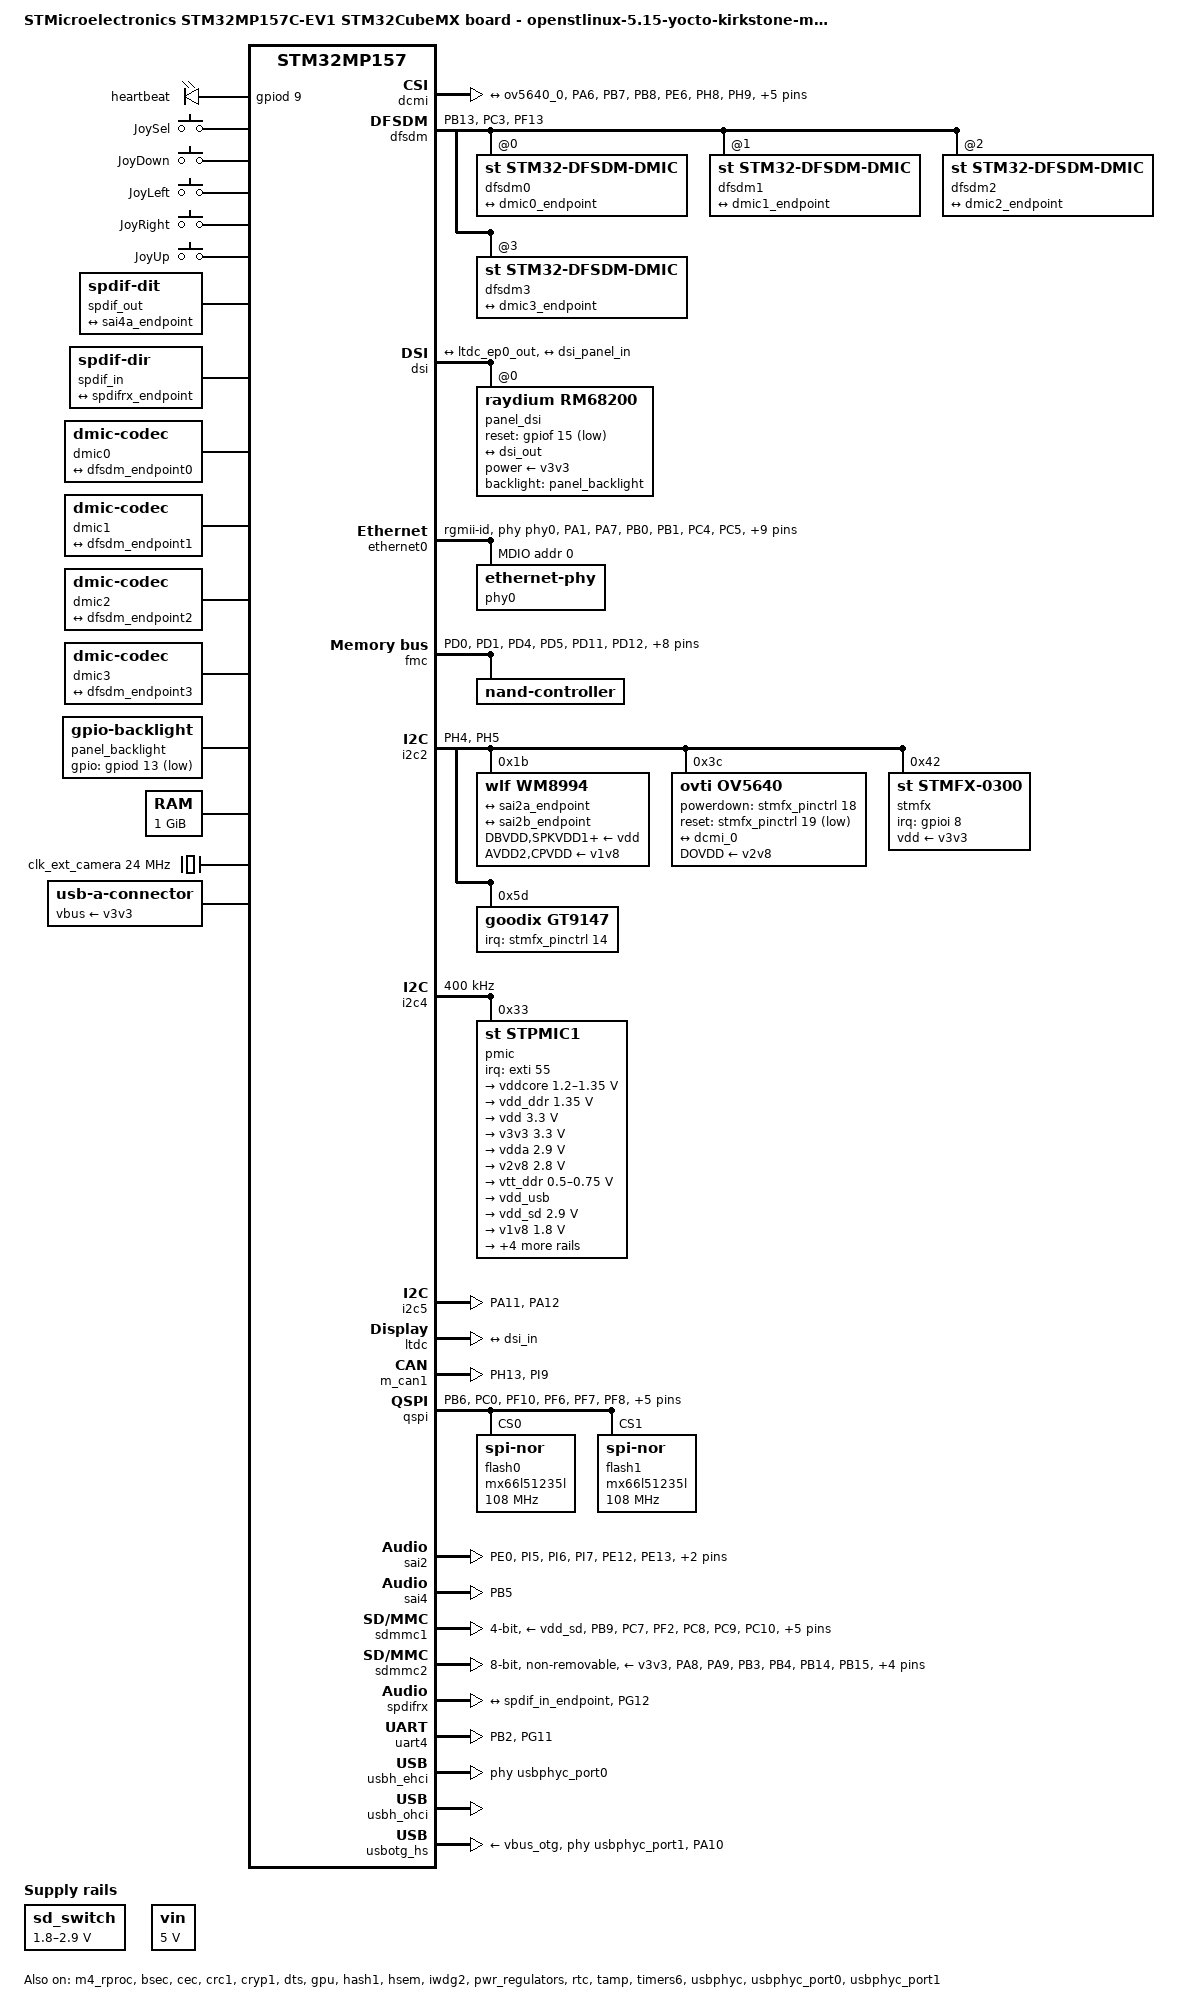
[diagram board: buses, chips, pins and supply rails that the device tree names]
/dts-v1/;
#include <dt-bindings/pinctrl/stm32-pinfunc.h>
#include "stm32mp157.dtsi"
#include "stm32mp15xc.dtsi"
#include "stm32mp15xxaa-pinctrl.dtsi"
#include "stm32mp15-m4-srm.dtsi"

/* USER CODE BEGIN includes */
#include <dt-bindings/gpio/gpio.h>
#include <dt-bindings/mfd/st,stpmic1.h>
#include <dt-bindings/input/input.h>
#include <dt-bindings/soc/stm32-hdp.h>
/* USER CODE END includes */

/{
	model = "STMicroelectronics STM32MP157C-EV1 STM32CubeMX board - openstlinux-5.15-yocto-kirkstone-mp1-v22.06.15";
	compatible = "st,stm32mp157c-board_157c-ev1-mx", "st,stm32mp157";

	/* USER CODE BEGIN root */

	aliases{
		serial0 = &uart4;
		ethernet0 = &ethernet0;
		serial1 = &usart3;
	};

	led{
		compatible = "gpio-leds";

		led-blue{
			label = "heartbeat";
			gpios = <&gpiod 9 GPIO_ACTIVE_HIGH>;
			linux,default-trigger = "heartbeat";
			default-state = "off";
		};
	};

	sd_switch:regulator-sd_switch{
		compatible = "regulator-gpio";
		regulator-name = "sd_switch";
		regulator-min-microvolt = <1800000>;
		regulator-max-microvolt = <2900000>;
		regulator-type = "voltage";
		regulator-always-on;
		gpios = <&gpiof 14 GPIO_ACTIVE_HIGH>;
		gpios-states = <0>;
		states = <1800000 0x1>,
				<2900000 0x0>;
	};

	vin:vin{
		compatible = "regulator-fixed";
		regulator-name = "vin";
		regulator-min-microvolt = <5000000>;
		regulator-max-microvolt = <5000000>;
		regulator-always-on;
	};

	chosen{
		stdout-path = "serial0:115200n8";
		#address-cells = <1>;
		#size-cells = <1>;
		ranges;
	};

	joystick{
		compatible = "gpio-keys";
		pinctrl-0 = <&joystick_pins>;
		pinctrl-names = "default";

		button-0{
			label = "JoySel";
			linux,code = <KEY_ENTER>;
			interrupt-parent = <&stmfx_pinctrl>;
			interrupts = <0 IRQ_TYPE_EDGE_RISING>;
		};

		button-1{
			label = "JoyDown";
			linux,code = <KEY_DOWN>;
			interrupt-parent = <&stmfx_pinctrl>;
			interrupts = <1 IRQ_TYPE_EDGE_RISING>;
		};

		button-2{
			label = "JoyLeft";
			linux,code = <KEY_LEFT>;
			interrupt-parent = <&stmfx_pinctrl>;
			interrupts = <2 IRQ_TYPE_EDGE_RISING>;
		};

		button-3{
			label = "JoyRight";
			linux,code = <KEY_RIGHT>;
			interrupt-parent = <&stmfx_pinctrl>;
			interrupts = <3 IRQ_TYPE_EDGE_RISING>;
		};

		button-4{
			label = "JoyUp";
			linux,code = <KEY_UP>;
			interrupt-parent = <&stmfx_pinctrl>;
			interrupts = <4 IRQ_TYPE_EDGE_RISING>;
		};
	};

	spdif_out:spdif-out{
		#sound-dai-cells = <0>;
		compatible = "linux,spdif-dit";
		status = "okay";

		spdif_out_port:port{

			spdif_out_endpoint:endpoint{
				remote-endpoint = <&sai4a_endpoint>;
			};
		};
	};

	spdif_in:spdif-in{
		#sound-dai-cells = <0>;
		compatible = "linux,spdif-dir";
		status = "okay";

		spdif_in_port:port{

			spdif_in_endpoint:endpoint{
				remote-endpoint = <&spdifrx_endpoint>;
			};
		};
	};

	sound:sound{
		compatible = "audio-graph-card";
		label = "STM32MP15-EV";
		routing = "AIF1CLK", "MCLK1",
				"AIF2CLK", "MCLK1",
				"IN1LN", "MICBIAS2",
				"DMIC2DAT", "MICBIAS1",
				"DMIC1DAT", "MICBIAS1";
		dais = <&sai2a_port &sai2b_port &sai4a_port &spdifrx_port
			&dfsdm0_port &dfsdm1_port &dfsdm2_port &dfsdm3_port>;
		status = "okay";
	};

	dmic0:dmic-0{
		compatible = "dmic-codec";
		#sound-dai-cells = <1>;
		sound-name-prefix = "dmic0";
		status = "okay";

		port{

			dmic0_endpoint:endpoint{
				remote-endpoint = <&dfsdm_endpoint0>;
			};
		};
	};

	dmic1:dmic-1{
		compatible = "dmic-codec";
		#sound-dai-cells = <1>;
		sound-name-prefix = "dmic1";
		status = "okay";

		port{

			dmic1_endpoint:endpoint{
				remote-endpoint = <&dfsdm_endpoint1>;
			};
		};
	};

	dmic2:dmic-2{
		compatible = "dmic-codec";
		#sound-dai-cells = <1>;
		sound-name-prefix = "dmic2";
		status = "okay";

		port{

			dmic2_endpoint:endpoint{
				remote-endpoint = <&dfsdm_endpoint2>;
			};
		};
	};

	dmic3:dmic-3{
		compatible = "dmic-codec";
		#sound-dai-cells = <1>;
		sound-name-prefix = "dmic3";
		status = "okay";

		port{

			dmic3_endpoint:endpoint{
				remote-endpoint = <&dfsdm_endpoint3>;
			};
		};
	};

	panel_backlight:panel-backlight{
		compatible = "gpio-backlight";
		gpios = <&gpiod 13 GPIO_ACTIVE_LOW>;
		default-on;
		status = "okay";
	};
	/* USER CODE END root */

	memory@c0000000{
		device_type = "memory";
		reg = <0xc0000000 0x40000000>;
	};

	reserved-memory{
		#address-cells = <1>;
		#size-cells = <1>;
		ranges;

		/* USER CODE BEGIN reserved-memory */

		mcuram2:mcuram2@10000000{
			compatible = "shared-dma-pool";
			reg = <0x10000000 0x40000>;
			no-map;
		};

		vdev0vring0:vdev0vring0@10040000{
			compatible = "shared-dma-pool";
			reg = <0x10040000 0x1000>;
			no-map;
		};

		vdev0vring1:vdev0vring1@10041000{
			compatible = "shared-dma-pool";
			reg = <0x10041000 0x1000>;
			no-map;
		};

		vdev0buffer:vdev0buffer@10042000{
			compatible = "shared-dma-pool";
			reg = <0x10042000 0x4000>;
			no-map;
		};

		mcu_rsc_table:mcu_rsc_table@10048000{
			compatible = "shared-dma-pool";
			reg = <0x10048000 0x8000>;
			no-map;
		};

		mcuram:mcuram@30000000{
			compatible = "shared-dma-pool";
			reg = <0x30000000 0x40000>;
			no-map;
		};

		retram:retram@38000000{
			compatible = "shared-dma-pool";
			reg = <0x38000000 0x10000>;
			no-map;
		};

		optee@fe000000{
			reg = <0xfe000000 0x2000000>;
			no-map;
		};

		gpu_reserved:gpu@f6000000{
			reg = <0xf6000000 0x8000000>;
			no-map;
		};
		/* USER CODE END reserved-memory */
	};

	clocks{

		/* USER CODE BEGIN clocks */

		clk_ext_camera:clk-ext-camera{
			#clock-cells = <0>;
			compatible = "fixed-clock";
			clock-frequency = <24000000>;
		};
		/* USER CODE END clocks */
	};
};

&pinctrl{

	dcmi_pins_mx:dcmi_mx-0{

		pins{
			pinmux = <STM32_PINMUX('A', 6, AF13)>,
					<STM32_PINMUX('B', 7, AF13)>,
					<STM32_PINMUX('B', 8, AF13)>,
					<STM32_PINMUX('E', 6, AF13)>,
					<STM32_PINMUX('H', 8, AF13)>,
					<STM32_PINMUX('H', 9, AF13)>,
					<STM32_PINMUX('H', 10, AF13)>,
					<STM32_PINMUX('H', 11, AF13)>,
					<STM32_PINMUX('H', 12, AF13)>,
					<STM32_PINMUX('H', 14, AF13)>,
					<STM32_PINMUX('I', 4, AF13)>;
			bias-disable;
		};
	};

	dcmi_sleep_pins_mx:dcmi_sleep_mx-0{

		pins{
			pinmux = <STM32_PINMUX('A', 6, ANALOG)>,
					<STM32_PINMUX('B', 7, ANALOG)>,
					<STM32_PINMUX('B', 8, ANALOG)>,
					<STM32_PINMUX('E', 6, ANALOG)>,
					<STM32_PINMUX('H', 8, ANALOG)>,
					<STM32_PINMUX('H', 9, ANALOG)>,
					<STM32_PINMUX('H', 10, ANALOG)>,
					<STM32_PINMUX('H', 11, ANALOG)>,
					<STM32_PINMUX('H', 12, ANALOG)>,
					<STM32_PINMUX('H', 14, ANALOG)>,
					<STM32_PINMUX('I', 4, ANALOG)>;
		};
	};

	dfsdm_pins_mx:dfsdm_mx-0{

		pins1{
			pinmux = <STM32_PINMUX('B', 13, AF3)>;
			bias-disable;
			drive-push-pull;
			slew-rate = <0>;
		};

		pins2{
			pinmux = <STM32_PINMUX('C', 3, AF3)>,
					<STM32_PINMUX('F', 13, AF6)>;
			bias-disable;
		};
	};

	dfsdm_sleep_pins_mx:dfsdm_sleep_mx-0{

		pins{
			pinmux = <STM32_PINMUX('B', 13, ANALOG)>,
					<STM32_PINMUX('C', 3, ANALOG)>,
					<STM32_PINMUX('F', 13, ANALOG)>;
		};
	};

	eth1_pins_mx:eth1_mx-0{

		pins1{
			pinmux = <STM32_PINMUX('A', 1, AF11)>,
					<STM32_PINMUX('A', 7, AF11)>,
					<STM32_PINMUX('B', 0, AF11)>,
					<STM32_PINMUX('B', 1, AF11)>,
					<STM32_PINMUX('C', 4, AF11)>,
					<STM32_PINMUX('C', 5, AF11)>;
			bias-disable;
		};

		pins2{
			pinmux = <STM32_PINMUX('A', 2, AF11)>;
			bias-disable;
			drive-push-pull;
			slew-rate = <0>;
		};

		pins3{
			pinmux = <STM32_PINMUX('B', 11, AF11)>,
					<STM32_PINMUX('C', 1, AF11)>,
					<STM32_PINMUX('C', 2, AF11)>,
					<STM32_PINMUX('E', 2, AF11)>,
					<STM32_PINMUX('G', 4, AF11)>,
					<STM32_PINMUX('G', 5, AF11)>,
					<STM32_PINMUX('G', 13, AF11)>,
					<STM32_PINMUX('G', 14, AF11)>;
			bias-disable;
			drive-push-pull;
			slew-rate = <2>;
		};
	};

	eth1_sleep_pins_mx:eth1_sleep_mx-0{

		pins{
			pinmux = <STM32_PINMUX('A', 1, ANALOG)>,
					<STM32_PINMUX('A', 2, ANALOG)>,
					<STM32_PINMUX('A', 7, ANALOG)>,
					<STM32_PINMUX('B', 0, ANALOG)>,
					<STM32_PINMUX('B', 1, ANALOG)>,
					<STM32_PINMUX('B', 11, ANALOG)>,
					<STM32_PINMUX('C', 1, ANALOG)>,
					<STM32_PINMUX('C', 2, ANALOG)>,
					<STM32_PINMUX('C', 4, ANALOG)>,
					<STM32_PINMUX('C', 5, ANALOG)>,
					<STM32_PINMUX('E', 2, ANALOG)>,
					<STM32_PINMUX('G', 4, ANALOG)>,
					<STM32_PINMUX('G', 5, ANALOG)>,
					<STM32_PINMUX('G', 13, ANALOG)>,
					<STM32_PINMUX('G', 14, ANALOG)>;
		};
	};

	fdcan1_pins_mx:fdcan1_mx-0{

		pins1{
			pinmux = <STM32_PINMUX('H', 13, AF9)>;
			bias-disable;
			drive-push-pull;
			slew-rate = <1>;
		};

		pins2{
			pinmux = <STM32_PINMUX('I', 9, AF9)>;
			bias-disable;
		};
	};

	fdcan1_sleep_pins_mx:fdcan1_sleep_mx-0{

		pins{
			pinmux = <STM32_PINMUX('H', 13, ANALOG)>,
					<STM32_PINMUX('I', 9, ANALOG)>;
		};
	};

	fmc_pins_mx:fmc_mx-0{

		pins1{
			pinmux = <STM32_PINMUX('D', 0, AF12)>,
					<STM32_PINMUX('D', 1, AF12)>,
					<STM32_PINMUX('D', 4, AF12)>,
					<STM32_PINMUX('D', 5, AF12)>,
					<STM32_PINMUX('D', 11, AF12)>,
					<STM32_PINMUX('D', 12, AF12)>,
					<STM32_PINMUX('D', 14, AF12)>,
					<STM32_PINMUX('D', 15, AF12)>,
					<STM32_PINMUX('E', 7, AF12)>,
					<STM32_PINMUX('E', 8, AF12)>,
					<STM32_PINMUX('E', 9, AF12)>,
					<STM32_PINMUX('E', 10, AF12)>,
					<STM32_PINMUX('G', 9, AF12)>;
			bias-disable;
			drive-push-pull;
			slew-rate = <1>;
		};

		pins2{
			pinmux = <STM32_PINMUX('D', 6, AF12)>;
			bias-pull-up;
		};
	};

	fmc_sleep_pins_mx:fmc_sleep_mx-0{

		pins{
			pinmux = <STM32_PINMUX('D', 0, ANALOG)>,
					<STM32_PINMUX('D', 1, ANALOG)>,
					<STM32_PINMUX('D', 4, ANALOG)>,
					<STM32_PINMUX('D', 5, ANALOG)>,
					<STM32_PINMUX('D', 6, ANALOG)>,
					<STM32_PINMUX('D', 11, ANALOG)>,
					<STM32_PINMUX('D', 12, ANALOG)>,
					<STM32_PINMUX('D', 14, ANALOG)>,
					<STM32_PINMUX('D', 15, ANALOG)>,
					<STM32_PINMUX('E', 7, ANALOG)>,
					<STM32_PINMUX('E', 8, ANALOG)>,
					<STM32_PINMUX('E', 9, ANALOG)>,
					<STM32_PINMUX('E', 10, ANALOG)>,
					<STM32_PINMUX('G', 9, ANALOG)>;
		};
	};

	hdmi_cec_pins_mx:hdmi_cec_mx-0{

		pins{
			pinmux = <STM32_PINMUX('A', 15, AF4)>;
			bias-disable;
			drive-open-drain;
			slew-rate = <0>;
		};
	};

	hdmi_cec_sleep_pins_mx:hdmi_cec_sleep_mx-0{

		pins{
			pinmux = <STM32_PINMUX('A', 15, ANALOG)>;
		};
	};

	i2c2_pins_mx:i2c2_mx-0{

		pins{
			pinmux = <STM32_PINMUX('H', 4, AF4)>,
					<STM32_PINMUX('H', 5, AF4)>;
			bias-disable;
			drive-open-drain;
			slew-rate = <0>;
		};
	};

	i2c2_sleep_pins_mx:i2c2_sleep_mx-0{

		pins{
			pinmux = <STM32_PINMUX('H', 4, ANALOG)>,
					<STM32_PINMUX('H', 5, ANALOG)>;
		};
	};

	i2c5_pins_mx:i2c5_mx-0{

		pins{
			pinmux = <STM32_PINMUX('A', 11, AF4)>,
					<STM32_PINMUX('A', 12, AF4)>;
			bias-disable;
			drive-open-drain;
			slew-rate = <0>;
		};
	};

	i2c5_sleep_pins_mx:i2c5_sleep_mx-0{

		pins{
			pinmux = <STM32_PINMUX('A', 11, ANALOG)>,
					<STM32_PINMUX('A', 12, ANALOG)>;
		};
	};

	quadspi_pins_mx:quadspi_mx-0{

		pins1{
			pinmux = <STM32_PINMUX('B', 6, AF10)>,
					<STM32_PINMUX('C', 0, AF10)>;
			bias-pull-up;
			drive-push-pull;
			slew-rate = <1>;
		};

		pins2{
			pinmux = <STM32_PINMUX('F', 10, AF9)>;
			bias-disable;
			drive-push-pull;
			slew-rate = <3>;
		};

		pins3{
			pinmux = <STM32_PINMUX('F', 6, AF9)>,
					<STM32_PINMUX('F', 7, AF9)>,
					<STM32_PINMUX('F', 8, AF10)>,
					<STM32_PINMUX('F', 9, AF10)>,
					<STM32_PINMUX('G', 7, AF11)>,
					<STM32_PINMUX('G', 10, AF11)>,
					<STM32_PINMUX('H', 2, AF9)>,
					<STM32_PINMUX('H', 3, AF9)>;
			bias-disable;
			drive-push-pull;
			slew-rate = <1>;
		};
	};

	quadspi_sleep_pins_mx:quadspi_sleep_mx-0{

		pins{
			pinmux = <STM32_PINMUX('B', 6, ANALOG)>,
					<STM32_PINMUX('C', 0, ANALOG)>,
					<STM32_PINMUX('F', 6, ANALOG)>,
					<STM32_PINMUX('F', 7, ANALOG)>,
					<STM32_PINMUX('F', 8, ANALOG)>,
					<STM32_PINMUX('F', 9, ANALOG)>,
					<STM32_PINMUX('F', 10, ANALOG)>,
					<STM32_PINMUX('G', 7, ANALOG)>,
					<STM32_PINMUX('G', 10, ANALOG)>,
					<STM32_PINMUX('H', 2, ANALOG)>,
					<STM32_PINMUX('H', 3, ANALOG)>;
		};
	};

	sai2a_pins_mx:sai2a_mx-0{

		pins{
			pinmux = <STM32_PINMUX('E', 0, AF10)>,
					<STM32_PINMUX('I', 5, AF10)>,
					<STM32_PINMUX('I', 6, AF10)>,
					<STM32_PINMUX('I', 7, AF10)>;
			bias-disable;
			drive-push-pull;
			slew-rate = <0>;
		};
	};

	sai2a_sleep_pins_mx:sai2a_sleep_mx-0{

		pins{
			pinmux = <STM32_PINMUX('E', 0, ANALOG)>,
					<STM32_PINMUX('I', 5, ANALOG)>,
					<STM32_PINMUX('I', 6, ANALOG)>,
					<STM32_PINMUX('I', 7, ANALOG)>;
		};
	};

	sai2b_pins_mx:sai2b_mx-0{

		pins{
			pinmux = <STM32_PINMUX('E', 12, AF10)>,
					<STM32_PINMUX('E', 13, AF10)>,
					<STM32_PINMUX('E', 14, AF10)>,
					<STM32_PINMUX('F', 11, AF10)>;
			bias-disable;
			drive-push-pull;
			slew-rate = <0>;
		};
	};

	sai2b_sleep_pins_mx:sai2b_sleep_mx-0{

		pins{
			pinmux = <STM32_PINMUX('E', 12, ANALOG)>,
					<STM32_PINMUX('E', 13, ANALOG)>,
					<STM32_PINMUX('E', 14, ANALOG)>,
					<STM32_PINMUX('F', 11, ANALOG)>;
		};
	};

	sai4a_pins_mx:sai4a_mx-0{

		pins{
			pinmux = <STM32_PINMUX('B', 5, AF10)>;
			bias-disable;
			drive-push-pull;
			slew-rate = <0>;
		};
	};

	sai4a_sleep_pins_mx:sai4a_sleep_mx-0{

		pins{
			pinmux = <STM32_PINMUX('B', 5, ANALOG)>;
		};
	};

	sdmmc1_pins_mx:sdmmc1_mx-0{

		pins1{
			pinmux = <STM32_PINMUX('B', 9, AF11)>,
					<STM32_PINMUX('C', 7, AF8)>,
					<STM32_PINMUX('F', 2, AF11)>;
			bias-pull-up;
			drive-push-pull;
			slew-rate = <1>;
		};

		pins2{
			pinmux = <STM32_PINMUX('C', 8, AF12)>,
					<STM32_PINMUX('C', 9, AF12)>,
					<STM32_PINMUX('C', 10, AF12)>,
					<STM32_PINMUX('C', 11, AF12)>,
					<STM32_PINMUX('D', 2, AF12)>;
			bias-disable;
			drive-push-pull;
			slew-rate = <1>;
		};

		pins3{
			pinmux = <STM32_PINMUX('C', 12, AF12)>;
			bias-disable;
			drive-push-pull;
			slew-rate = <2>;
		};

		pins4{
			pinmux = <STM32_PINMUX('E', 4, AF8)>;
			bias-pull-up;
		};
	};

	sdmmc1_opendrain_pins_mx:sdmmc1_opendrain_mx-0{

		pins1{
			pinmux = <STM32_PINMUX('B', 9, AF11)>,
					<STM32_PINMUX('C', 7, AF8)>,
					<STM32_PINMUX('F', 2, AF11)>;
			bias-pull-up;
			drive-push-pull;
			slew-rate = <1>;
		};

		pins2{
			pinmux = <STM32_PINMUX('C', 8, AF12)>,
					<STM32_PINMUX('C', 9, AF12)>,
					<STM32_PINMUX('C', 10, AF12)>,
					<STM32_PINMUX('C', 11, AF12)>;
			bias-disable;
			drive-push-pull;
			slew-rate = <1>;
		};

		pins3{
			pinmux = <STM32_PINMUX('C', 12, AF12)>;
			bias-disable;
			drive-push-pull;
			slew-rate = <2>;
		};

		pins4{
			pinmux = <STM32_PINMUX('D', 2, AF12)>;
			bias-disable;
			drive-open-drain;
			slew-rate = <1>;
		};

		pins5{
			pinmux = <STM32_PINMUX('E', 4, AF8)>;
			bias-pull-up;
		};
	};

	sdmmc1_sleep_pins_mx:sdmmc1_sleep_mx-0{

		pins{
			pinmux = <STM32_PINMUX('B', 9, ANALOG)>,
					<STM32_PINMUX('C', 7, ANALOG)>,
					<STM32_PINMUX('C', 8, ANALOG)>,
					<STM32_PINMUX('C', 9, ANALOG)>,
					<STM32_PINMUX('C', 10, ANALOG)>,
					<STM32_PINMUX('C', 11, ANALOG)>,
					<STM32_PINMUX('C', 12, ANALOG)>,
					<STM32_PINMUX('D', 2, ANALOG)>,
					<STM32_PINMUX('E', 4, ANALOG)>,
					<STM32_PINMUX('F', 2, ANALOG)>;
		};
	};

	sdmmc2_pins_mx:sdmmc2_mx-0{

		pins1{
			pinmux = <STM32_PINMUX('A', 8, AF9)>,
					<STM32_PINMUX('A', 9, AF10)>,
					<STM32_PINMUX('B', 3, AF9)>,
					<STM32_PINMUX('B', 4, AF9)>,
					<STM32_PINMUX('B', 14, AF9)>,
					<STM32_PINMUX('B', 15, AF9)>,
					<STM32_PINMUX('D', 3, AF9)>,
					<STM32_PINMUX('E', 5, AF9)>,
					<STM32_PINMUX('G', 6, AF10)>;
			bias-pull-up;
			drive-push-pull;
			slew-rate = <1>;
		};

		pins2{
			pinmux = <STM32_PINMUX('E', 3, AF9)>;
			bias-pull-up;
			drive-push-pull;
			slew-rate = <2>;
		};
	};

	sdmmc2_opendrain_pins_mx:sdmmc2_opendrain_mx-0{

		pins1{
			pinmux = <STM32_PINMUX('A', 8, AF9)>,
					<STM32_PINMUX('A', 9, AF10)>,
					<STM32_PINMUX('B', 3, AF9)>,
					<STM32_PINMUX('B', 4, AF9)>,
					<STM32_PINMUX('B', 14, AF9)>,
					<STM32_PINMUX('B', 15, AF9)>,
					<STM32_PINMUX('D', 3, AF9)>,
					<STM32_PINMUX('E', 5, AF9)>;
			bias-pull-up;
			drive-push-pull;
			slew-rate = <1>;
		};

		pins2{
			pinmux = <STM32_PINMUX('E', 3, AF9)>;
			bias-pull-up;
			drive-push-pull;
			slew-rate = <2>;
		};

		pins3{
			pinmux = <STM32_PINMUX('G', 6, AF10)>;
			bias-pull-up;
			drive-open-drain;
			slew-rate = <1>;
		};
	};

	sdmmc2_sleep_pins_mx:sdmmc2_sleep_mx-0{

		pins{
			pinmux = <STM32_PINMUX('A', 8, ANALOG)>,
					<STM32_PINMUX('A', 9, ANALOG)>,
					<STM32_PINMUX('B', 3, ANALOG)>,
					<STM32_PINMUX('B', 4, ANALOG)>,
					<STM32_PINMUX('B', 14, ANALOG)>,
					<STM32_PINMUX('B', 15, ANALOG)>,
					<STM32_PINMUX('D', 3, ANALOG)>,
					<STM32_PINMUX('E', 3, ANALOG)>,
					<STM32_PINMUX('E', 5, ANALOG)>,
					<STM32_PINMUX('G', 6, ANALOG)>;
		};
	};

	spdifrx_pins_mx:spdifrx_mx-0{

		pins{
			pinmux = <STM32_PINMUX('G', 12, AF8)>;
			bias-disable;
		};
	};

	spdifrx_sleep_pins_mx:spdifrx_sleep_mx-0{

		pins{
			pinmux = <STM32_PINMUX('G', 12, ANALOG)>;
		};
	};

	uart4_pins_mx:uart4_mx-0{

		pins1{
			pinmux = <STM32_PINMUX('B', 2, AF8)>;
			bias-disable;
		};

		pins2{
			pinmux = <STM32_PINMUX('G', 11, AF6)>;
			bias-disable;
			drive-push-pull;
			slew-rate = <0>;
		};
	};

	uart4_sleep_pins_mx:uart4_sleep_mx-0{

		pins{
			pinmux = <STM32_PINMUX('B', 2, ANALOG)>,
					<STM32_PINMUX('G', 11, ANALOG)>;
		};
	};

	usb_otg_hs_pins_mx:usb_otg_hs_mx-0{

		pins{
			pinmux = <STM32_PINMUX('A', 10, ANALOG)>;
		};
	};

	usb_otg_hs_sleep_pins_mx:usb_otg_hs_sleep_mx-0{

		pins{
			pinmux = <STM32_PINMUX('A', 10, ANALOG)>;
		};
	};
};

&pinctrl_z{

	i2c4_pins_z_mx:i2c4_mx-0{

		pins{
			pinmux = <STM32_PINMUX('Z', 4, AF6)>,
					<STM32_PINMUX('Z', 5, AF6)>;
			bias-disable;
			drive-open-drain;
			slew-rate = <0>;
		};
	};

	i2c4_sleep_pins_z_mx:i2c4_sleep_mx-0{

		pins{
			pinmux = <STM32_PINMUX('Z', 4, ANALOG)>,
					<STM32_PINMUX('Z', 5, ANALOG)>;
		};
	};
};

&m4_rproc{
	mboxes = <&ipcc 0>, <&ipcc 1>, <&ipcc 2>;
	mbox-names = "vq0", "vq1", "shutdown";
	status = "okay";

	/* USER CODE BEGIN m4_rproc */
	memory-region = <&retram>, <&mcuram>, <&mcuram2>, <&vdev0vring0>,
			<&vdev0vring1>, <&vdev0buffer>, <&mcu_rsc_table>;
	interrupt-parent = <&exti>;
	interrupts = <68 1>;
	wakeup-source;
	/* USER CODE END m4_rproc */
};

&bsec{
	status = "okay";
};

&cec{
	pinctrl-names = "default", "sleep";
	pinctrl-0 = <&hdmi_cec_pins_mx>;
	pinctrl-1 = <&hdmi_cec_sleep_pins_mx>;
	status = "okay";
};

&crc1{
	status = "okay";
};

&cryp1{
	status = "okay";
};

&dcmi{
	pinctrl-names = "default", "sleep";
	pinctrl-0 = <&dcmi_pins_mx>;
	pinctrl-1 = <&dcmi_sleep_pins_mx>;
	status = "okay";

	/* USER CODE BEGIN dcmi */

	port{

		dcmi_0:endpoint{
			remote-endpoint = <&ov5640_0>;
			bus-type = <5>;
			bus-width = <8>;
			hsync-active = <0>;
			vsync-active = <0>;
			pclk-sample = <1>;
			pclk-max-frequency = <77000000>;
		};
	};
	/* USER CODE END dcmi */
};

&dfsdm{
	pinctrl-names = "default", "sleep";
	pinctrl-0 = <&dfsdm_pins_mx>;
	pinctrl-1 = <&dfsdm_sleep_pins_mx>;
	status = "okay";

	/* USER CODE BEGIN dfsdm */
	spi-max-frequency = <2048000>;
	clocks = <&rcc DFSDM_K>, <&rcc ADFSDM_K>;
	clock-names = "dfsdm", "audio";

	dfsdm0:filter@0{
		compatible = "st,stm32-dfsdm-dmic";
		st,adc-channels = <3>;
		st,adc-channel-names = "dmic_u1";
		st,adc-channel-types = "SPI_R";
		st,adc-channel-clk-src = "CLKOUT";
		st,filter-order = <3>;
		status = "okay";

		asoc_pdm0:dfsdm-dai{
			compatible = "st,stm32h7-dfsdm-dai";
			#sound-dai-cells = <0>;
			io-channels = <&dfsdm0 0>;
			status = "okay";

			dfsdm0_port:port{

				dfsdm_endpoint0:endpoint{
					remote-endpoint = <&dmic0_endpoint>;
				};
			};
		};
	};

	dfsdm1:filter@1{
		compatible = "st,stm32-dfsdm-dmic";
		st,adc-channels = <0>;
		st,adc-channel-names = "dmic_u2";
		st,adc-channel-types = "SPI_F";
		st,adc-channel-clk-src = "CLKOUT";
		st,filter-order = <3>;
		st,adc-alt-channel = <1>;
		status = "okay";

		asoc_pdm1:dfsdm-dai{
			compatible = "st,stm32h7-dfsdm-dai";
			#sound-dai-cells = <0>;
			io-channels = <&dfsdm1 0>;
			status = "okay";

			dfsdm1_port:port{

				dfsdm_endpoint1:endpoint{
					remote-endpoint = <&dmic1_endpoint>;
				};
			};
		};
	};

	dfsdm2:filter@2{
		compatible = "st,stm32-dfsdm-dmic";
		st,adc-channels = <2>;
		st,adc-channel-names = "dmic_u3";
		st,adc-channel-types = "SPI_F";
		st,adc-channel-clk-src = "CLKOUT";
		st,adc-alt-channel = <1>;
		st,filter-order = <3>;
		status = "okay";

		asoc_pdm2:dfsdm-dai{
			compatible = "st,stm32h7-dfsdm-dai";
			#sound-dai-cells = <0>;
			io-channels = <&dfsdm2 0>;
			status = "okay";

			dfsdm2_port:port{

				dfsdm_endpoint2:endpoint{
					remote-endpoint = <&dmic2_endpoint>;
				};
			};
		};
	};

	dfsdm3:filter@3{
		compatible = "st,stm32-dfsdm-dmic";
		st,adc-channels = <1>;
		st,adc-channel-names = "dmic_u4";
		st,adc-channel-types = "SPI_R";
		st,adc-channel-clk-src = "CLKOUT";
		st,filter-order = <3>;
		status = "okay";

		asoc_pdm3:dfsdm-dai{
			compatible = "st,stm32h7-dfsdm-dai";
			#sound-dai-cells = <0>;
			io-channels = <&dfsdm3 0>;
			status = "okay";

			dfsdm3_port:port{

				dfsdm_endpoint3:endpoint{
					remote-endpoint = <&dmic3_endpoint>;
				};
			};
		};
	};
	/* USER CODE END dfsdm */
};

&dma1{
	status = "okay";

	/* USER CODE BEGIN dma1 */
	sram = <&dma_pool>;
	/* USER CODE END dma1 */
};

&dma2{
	status = "okay";

	/* USER CODE BEGIN dma2 */
	sram = <&dma_pool>;
	/* USER CODE END dma2 */
};

&dmamux1{
	status = "okay";
	dma-masters = <&dma1 &dma2>;
	dma-channels = <16>;
};

&dsi{
	status = "okay";

	/* USER CODE BEGIN dsi */
	#address-cells = <1>;
	#size-cells = <0>;

	ports{
		#address-cells = <1>;
		#size-cells = <0>;

		port@0{
			reg = <0>;

			dsi_in:endpoint{
				remote-endpoint = <&ltdc_ep0_out>;
			};
		};

		port@1{
			reg = <1>;

			dsi_out:endpoint{
				remote-endpoint = <&dsi_panel_in>;
			};
		};
	};

	panel_dsi:panel-dsi@0{
		compatible = "raydium,rm68200";
		reg = <0>;
		reset-gpios = <&gpiof 15 GPIO_ACTIVE_LOW>;
		backlight = <&panel_backlight>;
		power-supply = <&v3v3>;
		status = "okay";

		port{

			dsi_panel_in:endpoint{
				remote-endpoint = <&dsi_out>;
			};
		};
	};
	/* USER CODE END dsi */
};

&dts{
	status = "okay";
};

&ethernet0{
	pinctrl-names = "default", "sleep";
	pinctrl-0 = <&eth1_pins_mx>;
	pinctrl-1 = <&eth1_sleep_pins_mx>;
	status = "okay";

	/* USER CODE BEGIN ethernet0 */
	phy-mode = "rgmii-id";
	max-speed = <1000>;
	phy-handle = <&phy0>;

	mdio0{
		#address-cells = <1>;
		#size-cells = <0>;
		compatible = "snps,dwmac-mdio";

		phy0:ethernet-phy@0{
			reg = <0>;
		};
	};
	/* USER CODE END ethernet0 */
};

&fmc{
	pinctrl-names = "default", "sleep";
	pinctrl-0 = <&fmc_pins_mx>;
	pinctrl-1 = <&fmc_sleep_pins_mx>;
	status = "okay";

	/* USER CODE BEGIN fmc */

	nand-controller@4,0{
		status = "okay";

		nand@0{
			reg = <0>;
			nand-on-flash-bbt;
			#address-cells = <1>;
			#size-cells = <1>;
		};
	};
	/* USER CODE END fmc */
};

&gpu{
	status = "okay";

	/* USER CODE BEGIN gpu */
	contiguous-area = <&gpu_reserved>;
	/* USER CODE END gpu */
};

&hash1{
	status = "okay";
};

&hsem{
	status = "okay";
};

&i2c2{
	pinctrl-names = "default", "sleep";
	pinctrl-0 = <&i2c2_pins_mx>;
	pinctrl-1 = <&i2c2_sleep_pins_mx>;
	status = "okay";

	/* USER CODE BEGIN i2c2 */
	i2c-scl-rising-time-ns = <185>;
	i2c-scl-falling-time-ns = <20>;
	/delete-property/ dmas;
	/delete-property/ dma-names;

	wm8994:wm8994@1b{
		compatible = "wlf,wm8994";
		#sound-dai-cells = <0>;
		reg = <0x1b>;
		status = "okay";
		gpio-controller;
		#gpio-cells = <2>;
		DBVDD-supply = <&vdd>;
		SPKVDD1-supply = <&vdd>;
		SPKVDD2-supply = <&vdd>;
		AVDD2-supply = <&v1v8>;
		CPVDD-supply = <&v1v8>;
		wlf,ldoena-always-driven;
		clocks = <&sai2a>;
		clock-names = "MCLK1";
		wlf,gpio-cfg = <0x8101 0xa100 0xa100 0xa100 0xa101 0xa101 0xa100 0xa101 0xa101 0xa101 0xa101>;

		ports{
			#address-cells = <1>;
			#size-cells = <0>;

			wm8994_tx_port:port@0{
				reg = <0>;

				wm8994_tx_endpoint:endpoint{
					remote-endpoint = <&sai2a_endpoint>;
				};
			};

			wm8994_rx_port:port@1{
				reg = <1>;

				wm8994_rx_endpoint:endpoint{
					remote-endpoint = <&sai2b_endpoint>;
				};
			};
		};
	};

	ov5640:camera@3c{
		compatible = "ovti,ov5640";
		reg = <0x3c>;
		clocks = <&clk_ext_camera>;
		clock-names = "xclk";
		DOVDD-supply = <&v2v8>;
		powerdown-gpios = <&stmfx_pinctrl 18 (GPIO_ACTIVE_HIGH | GPIO_PUSH_PULL)>;
		reset-gpios = <&stmfx_pinctrl 19 (GPIO_ACTIVE_LOW | GPIO_PUSH_PULL)>;
		rotation = <180>;
		status = "okay";

		port{

			ov5640_0:endpoint{
				remote-endpoint = <&dcmi_0>;
				bus-width = <8>;
				data-shift = <2>;
				hsync-active = <0>;
				vsync-active = <0>;
				pclk-sample = <1>;
				pclk-max-frequency = <77000000>;
			};
		};
	};

	stmfx:stmfx@42{
		compatible = "st,stmfx-0300";
		reg = <0x42>;
		interrupts = <8 IRQ_TYPE_EDGE_RISING>;
		interrupt-parent = <&gpioi>;
		vdd-supply = <&v3v3>;

		stmfx_pinctrl:pinctrl{
			compatible = "st,stmfx-0300-pinctrl";
			gpio-controller;
			#gpio-cells = <2>;
			interrupt-controller;
			#interrupt-cells = <2>;
			gpio-ranges = <&stmfx_pinctrl 0 0 24>;

			goodix_pins:goodix{
				pins = "gpio14";
				bias-pull-down;
			};

			joystick_pins:joystick-pins{
				pins = "gpio0", "gpio1", "gpio2", "gpio3", "gpio4";
				bias-pull-down;
			};
		};
	};

	gt9147:goodix_ts@5d{
		compatible = "goodix,gt9147";
		reg = <0x5d>;
		panel = <&panel_dsi>;
		pinctrl-0 = <&goodix_pins>;
		pinctrl-names = "default";
		status = "okay";
		interrupts = <14 IRQ_TYPE_EDGE_RISING>;
		interrupt-parent = <&stmfx_pinctrl>;
	};
	/* USER CODE END i2c2 */
};

&i2c4{
	pinctrl-names = "default", "sleep";
	pinctrl-0 = <&i2c4_pins_z_mx>;
	pinctrl-1 = <&i2c4_sleep_pins_z_mx>;
	status = "okay";

	/* USER CODE BEGIN i2c4 */
	i2c-scl-rising-time-ns = <185>;
	i2c-scl-falling-time-ns = <20>;
	clock-frequency = <400000>;
	/delete-property/ dmas;
	/delete-property/ dma-names;

	pmic:stpmic@33{
		compatible = "st,stpmic1";
		reg = <0x33>;
		interrupts-extended = <&exti 55 IRQ_TYPE_EDGE_FALLING>;
		interrupt-controller;
		#interrupt-cells = <2>;
		status = "okay";

		regulators{
			compatible = "st,stpmic1-regulators";
			buck1-supply = <&vin>;
			buck2-supply = <&vin>;
			buck3-supply = <&vin>;
			buck4-supply = <&vin>;
			ldo1-supply = <&v3v3>;
			ldo2-supply = <&v3v3>;
			ldo3-supply = <&vdd_ddr>;
			ldo4-supply = <&vin>;
			ldo5-supply = <&v3v3>;
			ldo6-supply = <&v3v3>;
			vref_ddr-supply = <&vin>;
			boost-supply = <&vin>;
			pwr_sw1-supply = <&bst_out>;
			pwr_sw2-supply = <&bst_out>;

			vddcore:buck1{
				regulator-name = "vddcore";
				regulator-min-microvolt = <1200000>;
				regulator-max-microvolt = <1350000>;
				regulator-always-on;
				regulator-initial-mode = <0>;
				regulator-over-current-protection;
			};

			vdd_ddr:buck2{
				regulator-name = "vdd_ddr";
				regulator-min-microvolt = <1350000>;
				regulator-max-microvolt = <1350000>;
				regulator-always-on;
				regulator-initial-mode = <0>;
				regulator-over-current-protection;
			};

			vdd:buck3{
				regulator-name = "vdd";
				regulator-min-microvolt = <3300000>;
				regulator-max-microvolt = <3300000>;
				regulator-always-on;
				st,mask-reset;
				regulator-initial-mode = <0>;
				regulator-over-current-protection;
			};

			v3v3:buck4{
				regulator-name = "v3v3";
				regulator-min-microvolt = <3300000>;
				regulator-max-microvolt = <3300000>;
				regulator-always-on;
				regulator-over-current-protection;
				regulator-initial-mode = <0>;
			};

			vdda:ldo1{
				regulator-name = "vdda";
				regulator-min-microvolt = <2900000>;
				regulator-max-microvolt = <2900000>;
				interrupts = <IT_CURLIM_LDO1 0>;
			};

			v2v8:ldo2{
				regulator-name = "v2v8";
				regulator-min-microvolt = <2800000>;
				regulator-max-microvolt = <2800000>;
				interrupts = <IT_CURLIM_LDO2 0>;
			};

			vtt_ddr:ldo3{
				regulator-name = "vtt_ddr";
				regulator-min-microvolt = <500000>;
				regulator-max-microvolt = <750000>;
				regulator-always-on;
				regulator-over-current-protection;
			};

			vdd_usb:ldo4{
				regulator-name = "vdd_usb";
				interrupts = <IT_CURLIM_LDO4 0>;
			};

			vdd_sd:ldo5{
				regulator-name = "vdd_sd";
				regulator-min-microvolt = <2900000>;
				regulator-max-microvolt = <2900000>;
				interrupts = <IT_CURLIM_LDO5 0>;
				regulator-boot-on;
			};

			v1v8:ldo6{
				regulator-name = "v1v8";
				regulator-min-microvolt = <1800000>;
				regulator-max-microvolt = <1800000>;
				interrupts = <IT_CURLIM_LDO6 0>;
				regulator-enable-ramp-delay = <300000>;
			};

			vref_ddr:vref_ddr{
				regulator-name = "vref_ddr";
				regulator-always-on;
			};

			bst_out:boost{
				regulator-name = "bst_out";
				interrupts = <IT_OCP_BOOST 0>;
			};

			vbus_otg:pwr_sw1{
				regulator-name = "vbus_otg";
				interrupts = <IT_OCP_OTG 0>;
			};

			vbus_sw:pwr_sw2{
				regulator-name = "vbus_sw";
				interrupts = <IT_OCP_SWOUT 0>;
				regulator-active-discharge = <1>;
			};
		};

		onkey{
			compatible = "st,stpmic1-onkey";
			interrupts = <IT_PONKEY_F 0>, <IT_PONKEY_R 0>;
			interrupt-names = "onkey-falling", "onkey-rising";
			power-off-time-sec = <10>;
			status = "okay";
		};

		watchdog{
			compatible = "st,stpmic1-wdt";
			status = "disabled";
		};
	};
	/* USER CODE END i2c4 */
};

&i2c5{
	pinctrl-names = "default", "sleep";
	pinctrl-0 = <&i2c5_pins_mx>;
	pinctrl-1 = <&i2c5_sleep_pins_mx>;
	status = "okay";

	/* USER CODE BEGIN i2c5 */
	i2c-scl-rising-time-ns = <185>;
	i2c-scl-falling-time-ns = <20>;
	/delete-property/ dmas;
	/delete-property/ dma-names;
	/* USER CODE END i2c5 */
};

&ipcc{
	status = "okay";
};

&iwdg2{
	status = "okay";

	/* USER CODE BEGIN iwdg2 */
	timeout-sec = <32>;
	/* USER CODE END iwdg2 */
};

&ltdc{
	status = "okay";

	/* USER CODE BEGIN ltdc */

	port{

		ltdc_ep0_out:endpoint@0{
			reg = <0>;
			remote-endpoint = <&dsi_in>;
		};
	};
	/* USER CODE END ltdc */
};

&m_can1{
	pinctrl-names = "default", "sleep";
	pinctrl-0 = <&fdcan1_pins_mx>;
	pinctrl-1 = <&fdcan1_sleep_pins_mx>;
	status = "okay";
};

&mdma1{
	status = "okay";
};

&pwr_regulators{
	status = "okay";

	/* USER CODE BEGIN pwr_regulators */
	vdd-supply = <&vdd>;
	vdd_3v3_usbfs-supply = <&vdd_usb>;
	/* USER CODE END pwr_regulators */
};

&qspi{
	pinctrl-names = "default", "sleep";
	pinctrl-0 = <&quadspi_pins_mx>;
	pinctrl-1 = <&quadspi_sleep_pins_mx>;
	status = "okay";

	/* USER CODE BEGIN qspi */
	reg = <0x58003000 0x1000>, <0x70000000 0x4000000>;
	#address-cells = <1>;
	#size-cells = <0>;

	flash0:mx66l51235l@0{
		compatible = "jedec,spi-nor";
		reg = <0>;
		spi-rx-bus-width = <4>;
		spi-max-frequency = <108000000>;
		#address-cells = <1>;
		#size-cells = <1>;
	};

	flash1:mx66l51235l@1{
		compatible = "jedec,spi-nor";
		reg = <1>;
		spi-rx-bus-width = <4>;
		spi-max-frequency = <108000000>;
		#address-cells = <1>;
		#size-cells = <1>;
	};
	/* USER CODE END qspi */
};

&rcc{
	status = "okay";
};

&rtc{
	status = "okay";
};

&sai2{
	pinctrl-names = "default", "sleep";
	pinctrl-0 = <&sai2a_pins_mx>, <&sai2b_pins_mx>;
	pinctrl-1 = <&sai2a_sleep_pins_mx>, <&sai2b_sleep_pins_mx>;
	status = "okay";

	/* USER CODE BEGIN sai2 */
	clocks = <&rcc SAI2>, <&rcc PLL3_Q>, <&rcc PLL3_R>;
	clock-names = "pclk", "x8k", "x11k";
	/* USER CODE END sai2 */

	sai2a:audio-controller@4400b004{
		status = "okay";

		/* USER CODE BEGIN sai2a */
		#clock-cells = <0>;
		dma-names = "tx";

		sai2a_port:port{

			sai2a_endpoint:endpoint{
				remote-endpoint = <&wm8994_tx_endpoint>;
				format = "i2s";
				mclk-fs = <256>;
			};
		};
		/* USER CODE END sai2a */
	};

	sai2b:audio-controller@4400b024{
		status = "okay";

		/* USER CODE BEGIN sai2b */
		dma-names = "rx";
		clocks = <&rcc SAI2_K>, <&sai2a>;
		clock-names = "sai_ck", "MCLK";

		sai2b_port:port{

			sai2b_endpoint:endpoint{
				remote-endpoint = <&wm8994_rx_endpoint>;
				format = "i2s";
				mclk-fs = <256>;
			};
		};
		/* USER CODE END sai2b */
	};
};

&sai4{
	pinctrl-names = "default", "sleep";
	pinctrl-0 = <&sai4a_pins_mx>;
	pinctrl-1 = <&sai4a_sleep_pins_mx>;
	status = "okay";

	/* USER CODE BEGIN sai4 */
	clocks = <&rcc SAI4>, <&rcc PLL3_Q>, <&rcc PLL3_R>;
	clock-names = "pclk", "x8k", "x11k";
	/* USER CODE END sai4 */

	sai4a:audio-controller@50027004{
		status = "okay";

		/* USER CODE BEGIN sai4a */
		dma-names = "tx";
		st,iec60958;

		sai4a_port:port{

			sai4a_endpoint:endpoint{
				remote-endpoint = <&spdif_out_endpoint>;
			};
		};
		/* USER CODE END sai4a */
	};
};

&sdmmc1{
	pinctrl-names = "default", "opendrain", "sleep";
	pinctrl-0 = <&sdmmc1_pins_mx>;
	pinctrl-1 = <&sdmmc1_opendrain_pins_mx>;
	pinctrl-2 = <&sdmmc1_sleep_pins_mx>;
	status = "okay";

	/* USER CODE BEGIN sdmmc1 */
	cd-gpios = <&gpiog 1 (GPIO_ACTIVE_LOW | GPIO_PULL_UP)>;
	disable-wp;
	st,sig-dir;
	st,neg-edge;
	st,use-ckin;
	bus-width = <4>;
	vmmc-supply = <&vdd_sd>;
	vqmmc-supply = <&sd_switch>;
	sd-uhs-sdr12;
	sd-uhs-sdr25;
	sd-uhs-sdr50;
	sd-uhs-ddr50;
	/* USER CODE END sdmmc1 */
};

&sdmmc2{
	pinctrl-names = "default", "opendrain", "sleep";
	pinctrl-0 = <&sdmmc2_pins_mx>;
	pinctrl-1 = <&sdmmc2_opendrain_pins_mx>;
	pinctrl-2 = <&sdmmc2_sleep_pins_mx>;
	status = "okay";

	/* USER CODE BEGIN sdmmc2 */
	non-removable;
	no-sd;
	no-sdio;
	st,neg-edge;
	bus-width = <8>;
	vmmc-supply = <&v3v3>;
	vqmmc-supply = <&vdd>;
	mmc-ddr-3_3v;
	/* USER CODE END sdmmc2 */
};

&spdifrx{
	pinctrl-names = "default", "sleep";
	pinctrl-0 = <&spdifrx_pins_mx>;
	pinctrl-1 = <&spdifrx_sleep_pins_mx>;
	status = "okay";

	/* USER CODE BEGIN spdifrx */

	spdifrx_port:port{

		spdifrx_endpoint:endpoint{
			remote-endpoint = <&spdif_in_endpoint>;
		};
	};
	/* USER CODE END spdifrx */
};

&tamp{
	status = "okay";
};

&timers6{
	status = "okay";

	/* USER CODE BEGIN timers6 */
	/delete-property/ dmas;
	/delete-property/ dma-names;

	timer@5{
		status = "okay";
	};
	/* USER CODE END timers6 */
};

&uart4{
	pinctrl-names = "default", "sleep";
	pinctrl-0 = <&uart4_pins_mx>;
	pinctrl-1 = <&uart4_sleep_pins_mx>;
	status = "okay";

	/* USER CODE BEGIN uart4 */
	/delete-property/ dmas;
	/delete-property/ dma-names;
	/* USER CODE END uart4 */
};

&usbh_ehci{
	status = "okay";

	/* USER CODE BEGIN usbh_ehci */
	phys = <&usbphyc_port0>;
	/* USER CODE END usbh_ehci */
};

&usbh_ohci{
	status = "okay";
};

&usbotg_hs{
	pinctrl-names = "default", "sleep";
	pinctrl-0 = <&usb_otg_hs_pins_mx>;
	pinctrl-1 = <&usb_otg_hs_sleep_pins_mx>;
	status = "okay";

	/* USER CODE BEGIN usbotg_hs */
	vbus-supply = <&vbus_otg>;
	phys = <&usbphyc_port1 0>;
	phy-names = "usb2-phy";
	/* USER CODE END usbotg_hs */
};

&usbphyc{
	status = "okay";
};

&usbphyc_port0{
	status = "okay";

	/* USER CODE BEGIN usbphyc_port0 */
	phy-supply = <&vdd_usb>;
	st,tune-hs-dc-level = <2>;
	st,enable-fs-rftime-tuning;
	st,enable-hs-rftime-reduction;
	st,trim-hs-current = <15>;
	st,trim-hs-impedance = <1>;
	st,tune-squelch-level = <3>;
	st,tune-hs-rx-offset = <2>;
	st,no-lsfs-sc;

	connector{
		compatible = "usb-a-connector";
		vbus-supply = <&v3v3>;
	};
	/* USER CODE END usbphyc_port0 */
};

&usbphyc_port1{
	status = "okay";

	/* USER CODE BEGIN usbphyc_port1 */
	phy-supply = <&vdd_usb>;
	st,tune-hs-dc-level = <2>;
	st,enable-fs-rftime-tuning;
	st,enable-hs-rftime-reduction;
	st,trim-hs-current = <15>;
	st,trim-hs-impedance = <1>;
	st,tune-squelch-level = <3>;
	st,tune-hs-rx-offset = <2>;
	st,no-lsfs-sc;
	/* USER CODE END usbphyc_port1 */
};

/* USER CODE BEGIN addons */

&cpu0{
	cpu-supply = <&vddcore>;
};

&cpu1{
	cpu-supply = <&vddcore>;
};

&sram{

	dma_pool:dma_pool@0{
		reg = <0x50000 0x10000>;
		pool;
	};
};
/* USER CODE END addons */
